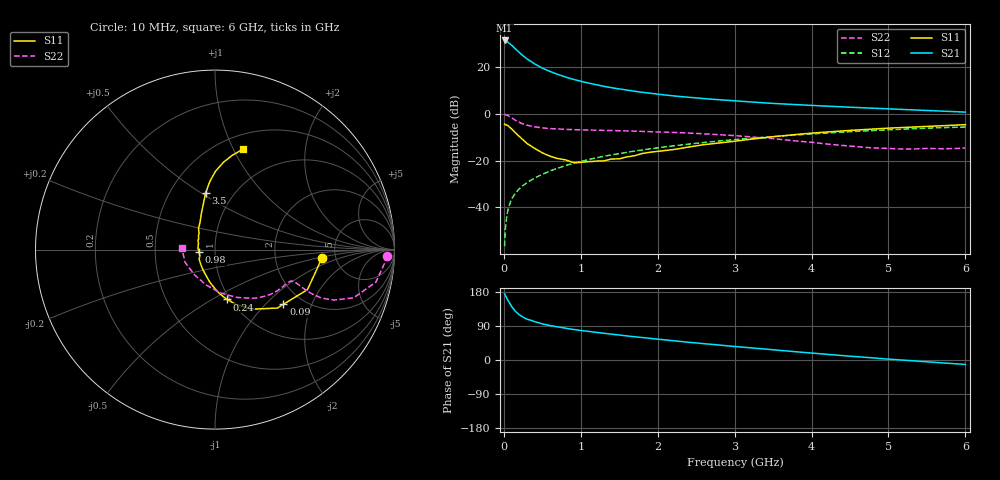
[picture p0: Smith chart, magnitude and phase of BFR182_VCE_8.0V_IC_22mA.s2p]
! Infineon Technologies  Discrete & RF Semiconductors
! BFR182
! VCE =  8.0 V,  IC =  22 mA
! Common Emitter S-Parameters:  Nov 2015
# GHz  S  MA  R  50
!  f  S11  S21  S12  S22
! GHz  MAG  ANG  MAG  ANG  MAG  ANG  MAG  ANG
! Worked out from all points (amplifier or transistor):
!   210 points, 10 MHz to 6 GHz, reference 50 ohm
!   highest |S21| = 31.1 dB at 10 MHz (marker M1)
!   |S21| within 3 dB of that: start of sweep to 131.5 MHz
!   unconditionally stable (mu >= 1): 625.1 MHz to 2.651 GHz
!   at 185 MHz: K = 0.68, MSG = 29.6 dB, |S12| = -32.6 dB
!   at 1.52 GHz: K = 1.04, MAG = 12.4 dB, |S12| = -16.9 dB
!   at 6 GHz: K = 0.90, MSG = 3.2 dB, |S12| = -5.7 dB
!   S11 on the Smith chart (normalised r, x): 10 MHz: 3.85, -0.58; 90 MHz: 1.60, -1.28; 240 MHz: 0.97, -0.59; 980 MHz: 0.83, -0.02; 3.5 GHz: 0.74, +0.53; 6 GHz: 0.65, +1.09
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0.01  0.5954 -4.7  36.08 174.4  0.0015 83.4  0.96 -2.0
0.02  0.5823 -9.3  35.41 170.1  0.0035 84.8  0.9474 -4.7
0.05  0.5613 -23.4  33.63 158.2  0.0083 80.0  0.9148 -11.4
0.09  0.4878 -38.7  29.55 145.0  0.0137 75.3  0.8355 -17.5
0.1  0.4759 -43.2  28.81 141.2  0.015 74.7  0.8173 -19.2
0.15  0.3904 -58.2  23.89 128.0  0.0201 71.3  0.719 -23.0
0.2  0.3268 -69.2  20 119.5  0.0248 71.3  0.6502 -24.5
0.24  0.2858 -76.2  17.51 114.2  0.0284 71.1  0.61 -24.6
0.26  0.2669 -79.9  16.45 111.8  0.0302 71.2  0.5929 -24.5
0.3  0.2315 -87.4  14.62 107.8  0.0338 71.8  0.5648 -24.3
0.4  0.1815 -99.7  11.43 101.1  0.0422 72.4  0.5222 -23.3
0.5  0.146 -112.5  9.292 95.2  0.0507 73.1  0.4952 -22.5
0.7  0.1104 -138.3  6.824 87.1  0.0689 73.2  0.4683 -22.2
0.98  0.0908 -171.9  4.968 78.5  0.0939 72.2  0.4515 -23.4
1.02  0.0921 -177.0  4.789 77.4  0.0975 72.0  0.4497 -23.7
1.4  0.108 151.6  3.548 68.1  0.1318 69.6  0.435 -27.5
2.02  0.1581 124.0  2.564 54.6  0.1886 64.2  0.409 -35.7
3.1  0.2702 103.5  1.812 34.0  0.2879 53.3  0.329 -55.2
3.5  0.3215 99.3  1.646 26.7  0.3245 49.0  0.2927 -65.5
4.1  0.3942 93.1  1.466 16.6  0.3773 41.9  0.234 -85.9
5.1  0.498 83.4  1.245 1.0  0.4598 29.8  0.1777 -134.2
6  0.5796 74.6  1.074 -11.8  0.5181 17.9  0.1849 177.7
